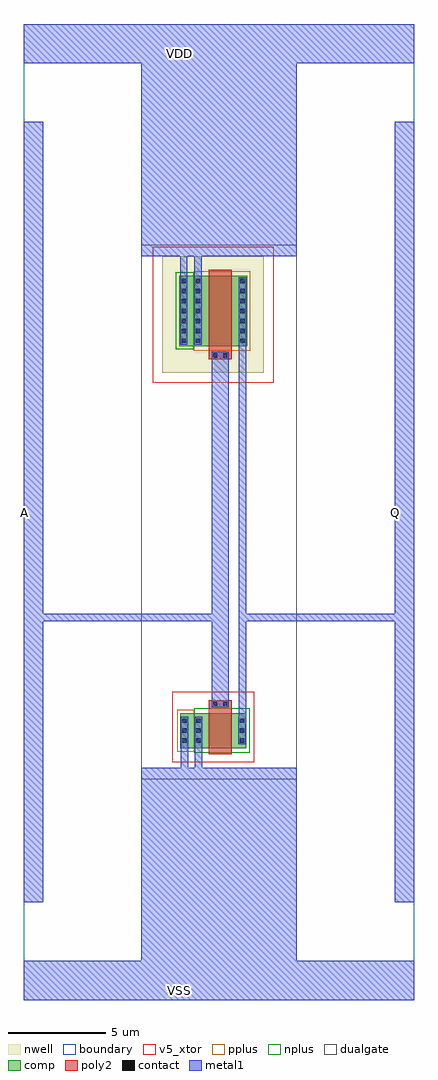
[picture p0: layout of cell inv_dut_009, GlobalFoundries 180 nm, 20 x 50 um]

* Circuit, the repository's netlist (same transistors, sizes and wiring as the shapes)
* inv_dut_009: pfet_05v0 W=3.60u L=1.20u / nfet_05v0 W=1.80u L=1.20u
.SUBCKT inv_dut_009 A Q VDD VSS
MMP Q A VDD VDD pfet_05v0 W=3.60u L=1.20u
MMN Q A VSS VSS nfet_05v0 W=1.80u L=1.20u
.ENDS

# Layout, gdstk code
import gdstk
lib = gdstk.Library(unit=1e-6, precision=1e-09)
def R(c, l, rs):  # rectangles x0, y0, x1, y1
    for r in rs: c.add(gdstk.rectangle(r[:2], r[2:], *l))
def A(c, l, x, y, w, h, nx, ny, dx, dy):  # array of equal rectangles
    R(c, l, [(x+i*dx, y+j*dy, x+i*dx+w, y+j*dy+h) for i in range(nx) for j in range(ny)])
boundary = (0, 0)
nwell = (21, 0)
comp = (22, 0)
poly2 = (30, 0)
pplus = (31, 0)
nplus = (32, 0)
contact = (33, 0)
metal1 = (34, 0)
dualgate = (55, 0)
v5_xtor = (112, 1)

inv_dut_009 = lib.new_cell('inv_dut_009')
R(inv_dut_009, boundary, [(-10,-25,10,25)])
R(inv_dut_009, nwell, [(-2.895,7.13,2.295,13.09)])
R(inv_dut_009, comp, [(-1.975,-12.1,1.395,-10.3), (-2.035,8.5,1.435,12.1)])
R(inv_dut_009, poly2, [(-0.535,-12.4,0.665,-9.64), (-0.535,7.82,0.665,12.4)])
R(inv_dut_009, pplus, [(-2.145,-12.27,-1.265,-10.13), (-1.305,8.26,1.605,12.34)])
R(inv_dut_009, nplus, [(-1.265,-12.34,1.565,-10.06), (-2.205,8.33,-1.305,12.27)])
A(inv_dut_009, contact, -1.875, -11.82, 0.22, 0.22, 1, 3, 0, 0.51)
A(inv_dut_009, contact, -1.165, -11.82, 0.22, 0.22, 1, 3, 0, 0.51)
A(inv_dut_009, contact, 1.075, -11.82, 0.22, 0.22, 1, 3, 0, 0.51)
A(inv_dut_009, contact, -1.915, 8.66, 0.22, 0.22, 1, 7, 0, 0.51)
A(inv_dut_009, contact, -1.185, 8.66, 0.22, 0.22, 1, 7, 0, 0.51)
A(inv_dut_009, contact, 1.095, 8.66, 0.22, 0.22, 1, 7, 0, 0.51)
R(inv_dut_009, contact, [(-0.3,-9.93,-0.08,-9.71), (0.21,-9.93,0.43,-9.71), (-0.3,7.9,-0.08,8.12), (0.21,7.9,0.43,8.12)])
R(inv_dut_009, metal1, [(-10,-25,10,-23), (-3.995,-23,3.995,-13.4), (-10,-20,-9,20), (9,-20,10,20), (-3.995,-13.7,3.995,-13.1), (-1.955,-13.7,-1.575,-10.5), (-1.245,-13.7,-0.865,-10.5), (-1.955,-11.9,-1.575,-10.5), (-1.245,-11.9,-0.865,-10.5), (0.995,-11.9,1.375,-10.5), (0.995,-10.88,1.395,-10.5), (1.015,-10.88,1.395,8.96), (-0.38,-10.01,0.51,8.2), (-0.38,-10.01,0.51,-9.63), (-9,-5.6,-3.695,-5.2), (-3.995,-5.6,0.51,-5.2), (1.015,-5.6,3.995,-5.2), (3.695,-5.6,9,-5.2), (-0.38,7.82,0.51,8.2), (-1.995,8.58,-1.615,13.7), (-1.995,8.58,-1.615,12.02), (-1.265,8.58,-0.885,13.7), (-1.265,8.58,-0.885,12.02), (1.015,8.58,1.395,8.96), (1.015,8.58,1.395,12.02), (-3.995,13.1,3.995,13.7), (-3.995,13.4,3.995,23), (-10,23,10,25)])
R(inv_dut_009, dualgate, [(-3.995,-13.7,3.995,13.7), (-2.395,-12.81,1.815,-9.22), (-3.395,6.63,2.795,13.59)])
R(inv_dut_009, v5_xtor, [(-2.395,-12.81,1.815,-9.22), (-3.395,6.63,2.795,13.59)])
inv_dut_009.add(gdstk.Label('VDD', (-2,23.5), layer=34, texttype=10))
inv_dut_009.add(gdstk.Label('VSS', (-2,-24.5), layer=34, texttype=10))
inv_dut_009.add(gdstk.Label('A', (-9.97,0), layer=34, texttype=10))
inv_dut_009.add(gdstk.Label('Q', (9.03,0), layer=34, texttype=10))

lib.write_gds('inv_dut_009.gds')
